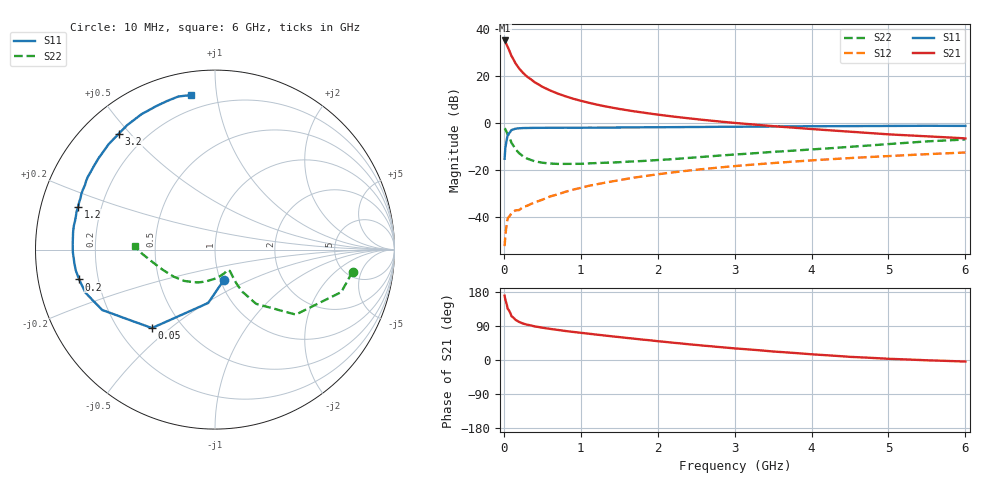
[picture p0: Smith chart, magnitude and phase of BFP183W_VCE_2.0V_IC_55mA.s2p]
! (c) 2017  Infineon Technologies AG, Munich
! Infineon Technologies  Discrete & RF Semiconductors
! BFP183W
! VCE =  2.0 V,  IC =  55 mA
! Common Emitter S-Parameters:  Jan 2017
# GHz  S  MA  R  50
!  f  S11  S21  S12  S22
! GHz  MAG  ANG  MAG  ANG  MAG  ANG  MAG  ANG
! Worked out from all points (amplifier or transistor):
!   77 points, 10 MHz to 6 GHz, reference 50 ohm
!   highest |S21| = 35.2 dB at 10 MHz (marker M1)
!   |S21| within 3 dB of that: start of sweep to 53.53 MHz
!   unconditionally stable (mu >= 1): start of sweep to 15.31 MHz; 285.8 MHz to end of sweep
!   at 130 MHz: K = 0.62, MSG = 32.2 dB, |S12| = -37.7 dB
!   at 2.2 GHz: K = 1.29, MAG = 8.7 dB, |S12| = -21.0 dB
!   at 6 GHz: K = 1.09, MAG = 1.2 dB, |S12| = -12.5 dB
!   S11 on the Smith chart (normalised r, x): 10 MHz: 1.04, -0.36; 50 MHz: 0.34, -0.43; 200 MHz: 0.13, -0.11; 1.2 GHz: 0.11, +0.15; 3.2 GHz: 0.11, +0.47; 6 GHz: 0.12, +0.85
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0.01  0.1748 -73.1  57.43 169.8  0.0024 77.2  0.7764 -9.1
0.02  0.2999 -97.3  54.43 159.0  0.0041 73.6  0.7423 -18.6
0.05  0.5609 -128.8  41.86 135.5  0.0093 53.5  0.5778 -38.8
0.1  0.7128 -151.8  26.64 115.5  0.0119 44.3  0.3795 -52.8
0.15  0.7607 -161.6  18.89 106.2  0.0139 41.6  0.2801 -57.0
0.2  0.7752 -167.6  14.47 100.3  0.0141 45.0  0.228 -57.7
0.25  0.7845 -171.6  11.71 96.2  0.0164 45.7  0.1964 -57.2
0.3  0.7872 -174.6  9.8 93.3  0.0173 48.4  0.176 -56.6
0.4  0.7921 -179.0  7.419 88.7  0.0205 55.0  0.1539 -55.6
0.5  0.7933 177.9  5.94 85.2  0.0234 57.2  0.1436 -55.4
0.6  0.7945 175.1  4.964 82.2  0.0274 59.8  0.1377 -56.3
0.7  0.7966 173.0  4.254 79.4  0.0304 63.7  0.1354 -57.0
0.9  0.7961 168.5  3.307 74.1  0.0383 65.8  0.1356 -61.1
1.1  0.7997 164.6  2.72 69.5  0.0461 67.5  0.1388 -65.5
1.2  0.7992 162.6  2.493 67.1  0.0496 67.3  0.1409 -67.7
1.6  0.8082 155.5  1.883 58.2  0.0651 67.5  0.1507 -78.9
2.1  0.8181 146.6  1.447 47.7  0.0853 66.0  0.1671 -95.0
3.1  0.8374 131.0  0.978 29.2  0.1254 59.7  0.2195 -124.6
3.2  0.8394 129.6  0.948 27.6  0.1293 59.0  0.225 -127.2
4.1  0.8587 117.3  0.728 13.8  0.1646 52.5  0.2818 -149.6
5.1  0.871 106.9  0.565 2.5  0.2025 44.6  0.3671 -170.9
6  0.8718 99.0  0.473 -4.1  0.2368 37.2  0.4477 177.4
